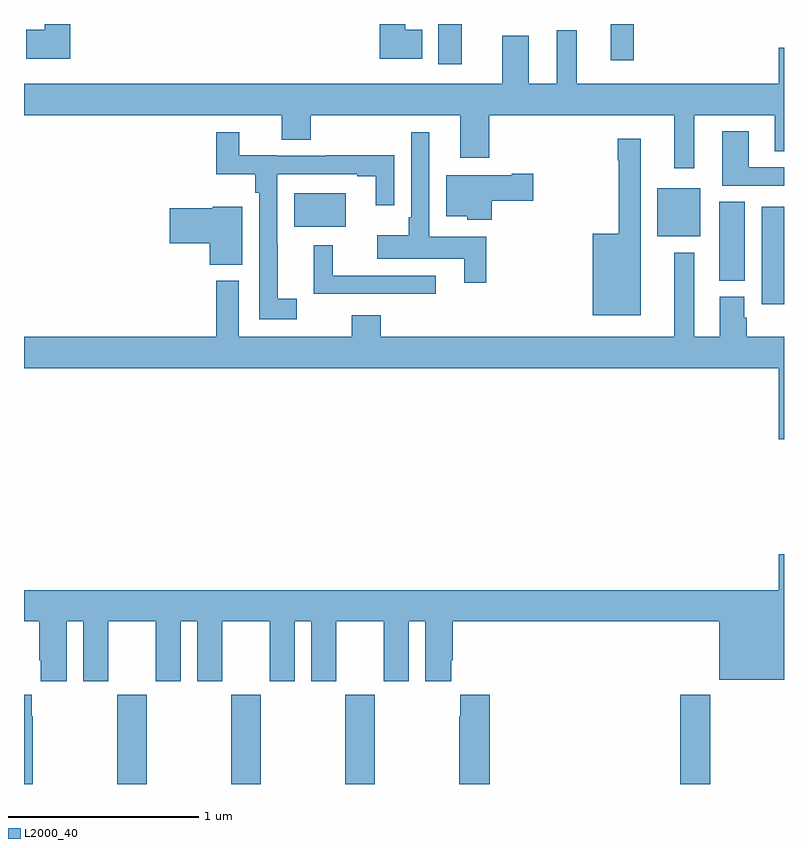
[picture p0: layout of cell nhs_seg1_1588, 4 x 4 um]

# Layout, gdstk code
import gdstk
lib = gdstk.Library(unit=1e-6, precision=1e-09)
def R(c, l, rs):  # rectangles x0, y0, x1, y1
    for r in rs: c.add(gdstk.rectangle(r[:2], r[2:], *l))
def A(c, l, x, y, w, h, nx, ny, dx, dy):  # array of equal rectangles
    R(c, l, [(x+i*dx, y+j*dy, x+i*dx+w, y+j*dy+h) for i in range(nx) for j in range(ny)])
def P(c, l, *ps):  # polygons
    for p in ps: c.add(gdstk.Polygon(p, *l))
L2000_40 = (2000, 40)

nhs_seg1_1588 = lib.new_cell('nhs_seg1_1588')
A(nhs_seg1_1588, L2000_40, 197.491, 560.199, 0.155, 0.469, 3, 1, 0.6, 0)
R(nhs_seg1_1588, L2000_40, [(200.453,560.199,200.613,560.668), (200.882,562.724,201,563.236), (200.66,562.849,200.794,563.264), (200.333,563.081,200.56,563.335), (198.422,563.132,198.694,563.308), (199.181,563.988,199.303,564.199), (200.087,564.009,200.209,564.199)])
P(nhs_seg1_1588, L2000_40, [(199.096,564.169),(199.006,564.169),(199.006,564.199),(198.872,564.199),(198.872,564.017),(199.096,564.017)],
  [(197.243,564.199),(197.108,564.199),(197.108,564.169),(197.013,564.169),(197.013,564.017),(197.243,564.017)],
  [(200.527,563.72),(200.951,563.72),(200.951,563.53),(201,563.53),(201,564.073),(200.972,564.073),(200.972,563.884),(199.909,563.884),(199.909,564.166),(199.805,564.166),(199.805,563.884),(199.657,563.884),(199.657,564.136),(199.517,564.136),(199.517,563.884),(197,563.884),(197,563.72),(198.356,563.72),(198.356,563.59),(198.509,563.59),(198.509,563.72),(199.295,563.72),(199.295,563.496),(199.448,563.496),(199.448,563.72),(200.423,563.72),(200.423,563.439),(200.527,563.439)],
  [(201,563.445),(200.815,563.445),(200.815,563.635),(200.675,563.635),(200.675,563.349),(201,563.349)],
  [(199.433,563.08),(199.134,563.08),(199.134,563.629),(199.038,563.629),(199.038,563.182),(199.026,563.182),(199.026,563.086),(198.858,563.086),(198.858,562.964),(199.316,562.964),(199.316,562.836),(199.433,562.836)],
  [(198.436,562.753),(198.335,562.753),(198.335,563.036),(198.333,563.036),(198.333,563.409),(198.755,563.409),(198.755,563.397),(198.851,563.397),(198.851,563.244),(198.948,563.244),(198.948,563.507),(198.592,563.507),(198.592,563.505),(198.33,563.505),(198.33,563.507),(198.132,563.507),(198.132,563.629),(198.013,563.629),(198.013,563.408),(198.217,563.408),(198.217,563.312),(198.237,563.312),(198.237,562.644),(198.436,562.644)],
  [(200.245,563.596),(200.124,563.596),(200.124,563.483),(200.131,563.483),(200.131,563.095),(199.994,563.095),(199.994,562.667),(200.245,562.667)],
  [(199.463,563.27),(199.681,563.27),(199.681,563.412),(199.568,563.412),(199.568,563.404),(199.223,563.404),(199.223,563.186),(199.332,563.186),(199.332,563.168),(199.463,563.168)],
  [(198.148,563.236),(197.994,563.236),(197.994,563.228),(197.766,563.228),(197.766,563.045),(197.978,563.045),(197.978,562.933),(198.148,562.933)],
  [(199.168,562.875),(198.624,562.875),(198.624,563.035),(198.524,563.035),(198.524,562.779),(199.168,562.779)],
  [(201,562.552),(200.804,562.552),(200.804,562.653),(200.791,562.653),(200.791,562.764),(200.663,562.764),(200.663,562.552),(200.527,562.552),(200.527,562.996),(200.423,562.996),(200.423,562.552),(198.878,562.552),(198.878,562.666),(198.725,562.666),(198.725,562.552),(198.129,562.552),(198.129,562.848),(198.013,562.848),(198.013,562.552),(197,562.552),(197,562.388),(200.972,562.388),(200.972,562.014),(201,562.014)],
  [(197.224,561.056),(197.312,561.056),(197.312,560.739),(197.443,560.739),(197.443,561.056),(197.693,561.056),(197.693,560.739),(197.824,560.739),(197.824,561.056),(197.912,561.056),(197.912,560.739),(198.043,560.739),(198.043,561.056),(198.293,561.056),(198.293,560.739),(198.424,560.739),(198.424,561.056),(198.512,561.056),(198.512,560.739),(198.643,560.739),(198.643,561.056),(198.893,561.056),(198.893,560.739),(199.024,560.739),(199.024,561.056),(199.112,561.056),(199.112,560.739),(199.249,560.739),(199.249,560.851),(199.256,560.851),(199.256,561.056),(200.66,561.056),(200.66,560.747),(201,560.747),(201,561.409),(200.972,561.409),(200.972,561.22),(197,561.22),(197,561.056),(197.081,561.056),(197.081,560.851),(197.087,560.851),(197.087,560.739),(197.224,560.739)],
  [(199.451,560.668),(199.295,560.668),(199.295,560.555),(199.291,560.555),(199.291,560.199),(199.451,560.199)],
  [(197.046,560.555),(197.041,560.555),(197.041,560.668),(197,560.668),(197,560.199),(197.046,560.199)])

lib.write_gds('nhs_seg1_1588.gds')
